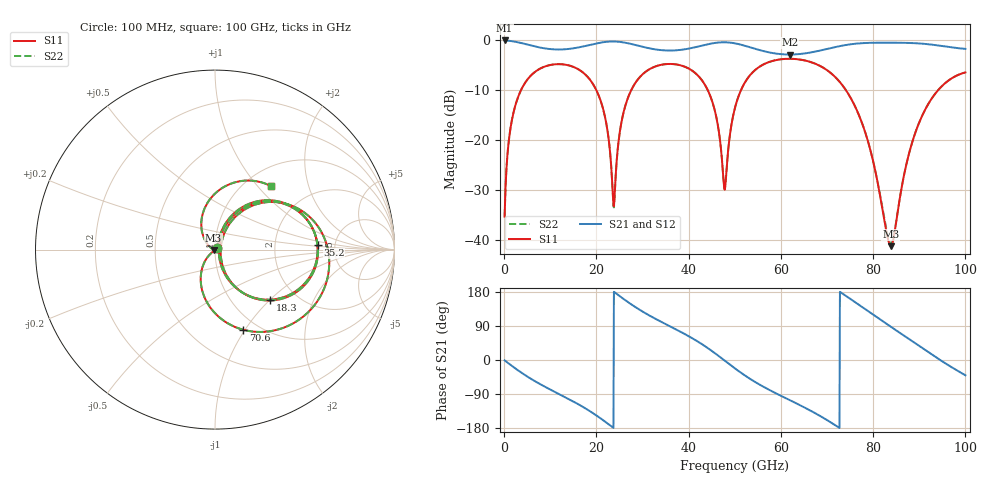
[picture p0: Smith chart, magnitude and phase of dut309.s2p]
! Touchstone file exported from HFSS 2026.1.0
!  File:  C:/ffzhzh/LocalFiles/Ansys_Project_Files/temp_train_TSV_RDL_309_1783698312_45496.aedt
!  Generated:  11:54:52 PM Jul 10, 2026
!  Design:  TSV_RDL
!  Project:  temp_train_TSV_RDL_309_1783698312_45496
! Variables:
!  h_bsmrdl = 2.85um
!  h_ox = 20um
!  h_rdl = 5um
!  h_sub = 63.01um
!  h_tmrdl = 3.09um
!  h_tsv = 63.01um
!  h_via = 3um
!  l_bsmrdl = 481.62um
!  l_sub = 2638um
!  l_tmrdl = 163.2um
!  m_sub = 200um
!  pitch = 53.25um
!  r_tsv = 6.53um
!  s_tmrdl = 10um
!  w_bsmrdl = 20.92um
!  w_sub = 500um
!  w_tmrdl = 25.86um
!  x_tsv_center1 = 176.13um
!  x_tsv_center2 = 678.67um
!  x_tsv_center3 = 867.73um
!  x_tsv_center4 = 1370.27um
!  x_tsv_center5 = 1559.33um
!  x_tsv_center6 = 2061.87um
# GHz S MA R 50.000000
! Terminal data exported
! Port[1] = TM_RDL1_1_T1
! Port[2] = TM_RDL5_1_T1
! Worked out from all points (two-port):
!   1000 points, 100 MHz to 100 GHz, reference 50 ohm
!   highest |S21| = -0.12 dB at 100 MHz (marker M1); lowest = -2.9 dB at 61.9 GHz (marker M2)
!   |S21| within 3 dB of the highest: start of sweep to end of sweep
!   lowest |S11| = -41.3 dB at 83.8 GHz (marker M3), VSWR 1.02, Z = 49.2 - j0.395 ohm
!   |S11| at or under -10 dB: 19.95 GHz to 27.59 GHz (7.637 GHz wide, 32.1 % of centre); 44.11 GHz to 51.38 GHz (7.269 GHz wide, 15.2 % of centre); 74.05 GHz to 94.15 GHz (20.1 GHz wide, 23.9 % of centre) (the widest 3 of 4)
!   |S22| runs from -40.8 to -3.8 dB; largest |S21 - S12| = 1.7e-14
!   S11 on the Smith chart (normalised r, x): 100 MHz: 1.03, +0.02; 18.3 GHz: 1.49, -1.00; 35.2 GHz: 3.66, +0.28; 70.6 GHz: 0.85, -0.98; 100 GHz: 1.31, +1.19
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0.1  0.01703 36.0  0.9863 -1.0  0.9863 -1.0  0.01703 36.0
! Gamma 0 0 0 0
! Port Impedance 50 0 50 0
1.5  0.1416 69.1  0.9728 -14.0  0.9728 -14.0  0.1416 69.1
4.3  0.3567 48.9  0.915 -38.0  0.915 -38.0  0.3567 48.9
10.7  0.5674 6.2  0.8038 -82.3  0.8038 -82.3  0.5674 6.2
16.8  0.4827 -31.7  0.8526 -121.7  0.8526 -121.7  0.4827 -31.8
18.3  0.4156 -42.1  0.884 -132.8  0.884 -132.8  0.4157 -42.2
21.7  0.1832 -66.0  0.9506 -161.0  0.9506 -161.0  0.1832 -66.1
23.8  0.0216 8.0  0.9632 180.0  0.9632 180.0  0.02104 8.1
26.8  0.2599 57.8  0.926 153.2  0.926 153.2  0.2598 57.9
33.4  0.5534 13.3  0.7952 104.8  0.7952 104.8  0.5534 13.4
35.2  0.5725 2.5  0.7828 93.5  0.7828 93.5  0.5725 2.6
43.9  0.3306 -53.0  0.898 33.6  0.898 33.6  0.3307 -52.9
47.8  0.03162 -3.2  0.9462 -1.4  0.9462 -1.4  0.03214 -3.3
50.1  0.2134 58.3  0.9218 -22.7  0.9218 -22.7  0.2134 58.2
61.9  0.6467 -16.2  0.7132 -105.8  0.7132 -105.8  0.6466 -16.2
66.7  0.5947 -44.5  0.7512 -135.5  0.7512 -135.5  0.5946 -44.5
70.6  0.4742 -70.5  0.823 -163.0  0.823 -163.0  0.4742 -70.4
77.8  0.138 -122.8  0.9276 138.0  0.9276 138.0  0.1382 -122.6
83.4  0.009375 -141.4  0.9369 91.3  0.9369 91.3  0.009966 -138.8
83.8  0.008609 -152.3  0.9367 88.0  0.9367 88.0  0.009148 -149.0
90.3  0.161 118.3  0.9186 34.2  0.9186 34.2  0.1612 118.5
100  0.472 48.2  0.8122 -40.4  0.8122 -40.4  0.4721 48.2
